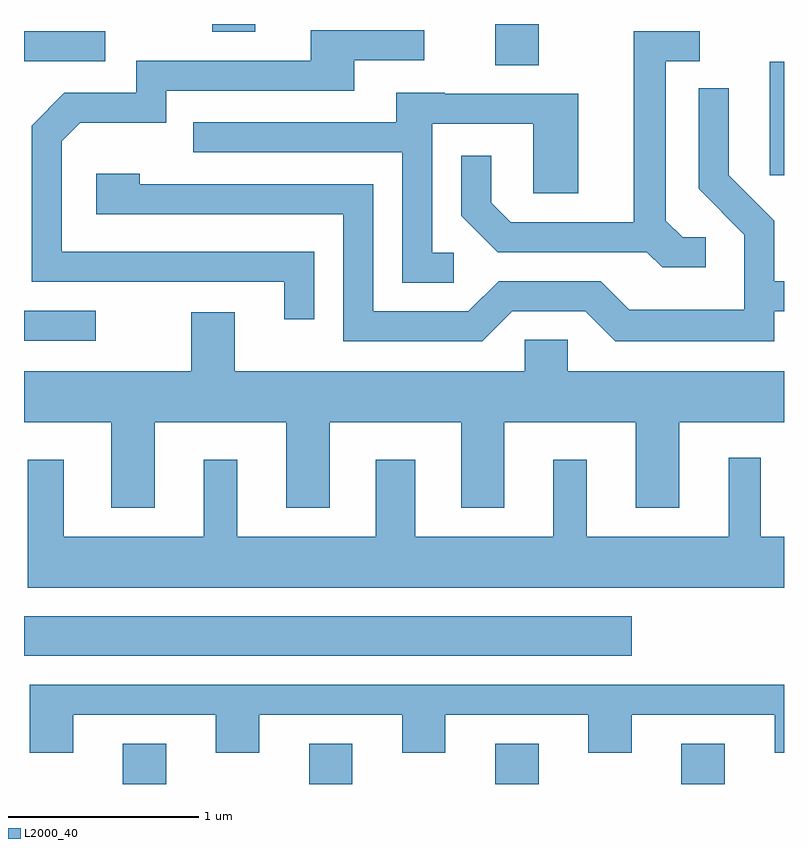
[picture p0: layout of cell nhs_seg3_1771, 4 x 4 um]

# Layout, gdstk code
import gdstk
lib = gdstk.Library(unit=1e-6, precision=1e-09)
def R(c, l, rs):  # rectangles x0, y0, x1, y1
    for r in rs: c.add(gdstk.rectangle(r[:2], r[2:], *l))
def A(c, l, x, y, w, h, nx, ny, dx, dy):  # array of equal rectangles
    R(c, l, [(x+i*dx, y+j*dy, x+i*dx+w, y+j*dy+h) for i in range(nx) for j in range(ny)])
def P(c, l, *ps):  # polygons
    for p in ps: c.add(gdstk.Polygon(p, *l))
L2000_40 = (2000, 40)

nhs_seg3_1771 = lib.new_cell('nhs_seg3_1771')
A(nhs_seg3_1771, L2000_40, 238.131, 1121.892, 0.228, 0.212, 4, 1, 0.98, 0)
R(nhs_seg3_1771, L2000_40, [(237.611,1122.566,240.809,1122.774), (237.611,1124.226,237.988,1124.384), (241.536,1125.096,241.611,1125.694), (240.091,1125.676,240.319,1125.892), (237.611,1125.696,238.038,1125.854), (238.601,1125.851,238.829,1125.892)])
P(nhs_seg3_1771, L2000_40, [(239.139,1124.694),(237.809,1124.694),(237.809,1125.274),(237.907,1125.371),(238.359,1125.371),(238.359,1125.541),(239.349,1125.541),(239.349,1125.701),(239.718,1125.701),(239.718,1125.859),(239.121,1125.859),(239.121,1125.699),(238.201,1125.699),(238.201,1125.529),(237.824,1125.529),(237.651,1125.357),(237.651,1124.536),(238.981,1124.536),(238.981,1124.338),(239.139,1124.338)],
  [(241.198,1124.769),(241.077,1124.769),(240.989,1124.857),(240.989,1125.696),(241.168,1125.696),(241.168,1125.854),(240.821,1125.854),(240.821,1124.849),(240.172,1124.849),(240.069,1124.952),(240.069,1125.198),(239.911,1125.198),(239.911,1124.884),(240.104,1124.691),(240.889,1124.691),(240.969,1124.611),(241.198,1124.611)],
  [(240.182,1124.381),(240.564,1124.381),(240.724,1124.221),(241.559,1124.221),(241.559,1124.381),(241.611,1124.381),(241.611,1124.539),(241.559,1124.539),(241.559,1124.857),(241.319,1125.097),(241.319,1125.553),(241.161,1125.553),(241.161,1125.024),(241.401,1124.784),(241.401,1124.389),(240.797,1124.389),(240.647,1124.539),(240.109,1124.539),(239.949,1124.379),(239.449,1124.379),(239.449,1125.049),(238.219,1125.049),(238.219,1125.104),(237.991,1125.104),(237.991,1124.891),(239.291,1124.891),(239.291,1124.221),(240.022,1124.221)],
  [(239.873,1124.689),(239.759,1124.689),(239.759,1125.366),(240.291,1125.366),(240.291,1125.001),(240.529,1125.001),(240.529,1125.524),(239.825,1125.524),(239.825,1125.529),(239.571,1125.529),(239.571,1125.374),(238.503,1125.374),(238.503,1125.216),(239.601,1125.216),(239.601,1124.531),(239.873,1124.531)],
  [(238.991,1123.346),(239.219,1123.346),(239.219,1123.796),(239.911,1123.796),(239.911,1123.346),(240.139,1123.346),(240.139,1123.796),(240.831,1123.796),(240.831,1123.346),(241.059,1123.346),(241.059,1123.796),(241.611,1123.796),(241.611,1124.064),(240.474,1124.064),(240.474,1124.229),(240.246,1124.229),(240.246,1124.064),(238.719,1124.064),(238.719,1124.374),(238.491,1124.374),(238.491,1124.064),(237.611,1124.064),(237.611,1123.796),(238.071,1123.796),(238.071,1123.346),(238.299,1123.346),(238.299,1123.796),(238.991,1123.796)],
  [(241.611,1123.194),(241.489,1123.194),(241.489,1123.608),(241.321,1123.608),(241.321,1123.194),(240.574,1123.194),(240.574,1123.599),(240.396,1123.599),(240.396,1123.194),(239.669,1123.194),(239.669,1123.599),(239.461,1123.599),(239.461,1123.194),(238.734,1123.194),(238.734,1123.599),(238.556,1123.599),(238.556,1123.194),(237.819,1123.194),(237.819,1123.599),(237.631,1123.599),(237.631,1122.926),(241.611,1122.926)],
  [(237.869,1122.256),(238.621,1122.256),(238.621,1122.056),(238.849,1122.056),(238.849,1122.256),(239.601,1122.256),(239.601,1122.056),(239.829,1122.056),(239.829,1122.256),(240.581,1122.256),(240.581,1122.056),(240.809,1122.056),(240.809,1122.256),(241.561,1122.256),(241.561,1122.056),(241.611,1122.056),(241.611,1122.414),(237.641,1122.414),(237.641,1122.056),(237.869,1122.056)])

lib.write_gds('nhs_seg3_1771.gds')
